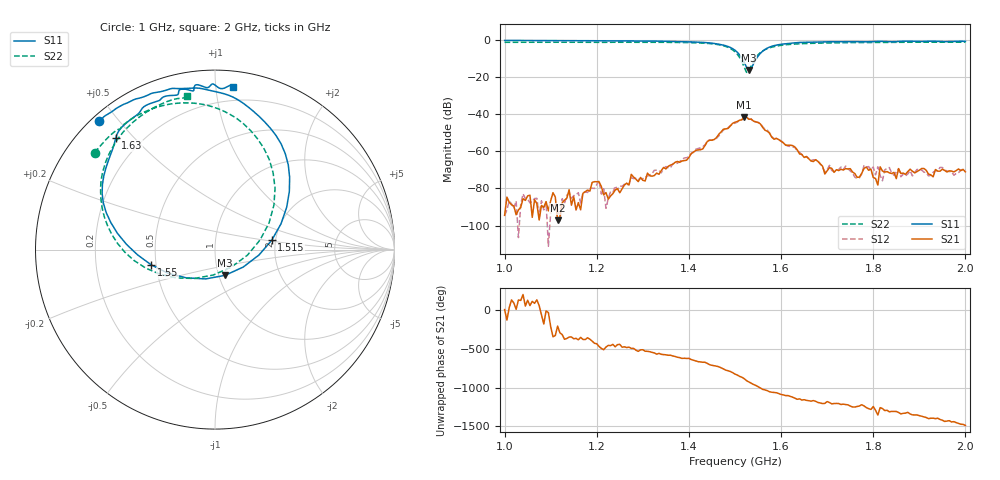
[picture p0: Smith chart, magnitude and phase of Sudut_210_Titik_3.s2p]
# Hz S RI R 50
! CMT, C1220, 16058040, 17.2.0/1
! Date: 14/08/2018 12:39:38
! Data: Format (Calibration Info)
! Freq  S11: Re/Im (F2)  S21: Re/Im (F2)  S12: Re/Im (F2)  S22: Re/Im (F2)
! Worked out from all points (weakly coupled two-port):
!   201 points, 1 GHz to 2 GHz, reference 50 ohm
!   highest |S21| = -41.46 dB at 1.52 GHz (marker M1); lowest = -97.2 dB at 1.115 GHz (marker M2)
!   lowest |S11| = -16.2 dB at 1.53 GHz (marker M3), VSWR 1.36, Z = 53.6 - j15.7 ohm
!   |S11| at or under -10 dB: 1.515 GHz to 1.547 GHz (31.44 MHz wide, 2.05 % of centre)
!   |S22| runs from -17.5 to -1.2 dB; largest |S21 - S12| = 0.00035
!   S11 on the Smith chart (normalised r, x): 1 GHz: 0.02, +0.44; 1.515 GHz: 1.91, +0.22; 1.55 GHz: 0.47, -0.09; 1.63 GHz: 0.11, +0.45; 2 GHz: 0.10, +1.11
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1e9  -0.6483 0.7142  1.89e-05 2.86e-07  -1.23e-05 1.41e-05  -0.6705 0.54
1.115e9  -0.5379 0.7937  -1.18e-05 7.14e-06  -9.18e-06 2.52e-05  -0.6016 0.6184
1.17e9  -0.4761 0.8235  6.85e-05 -2.82e-05  7.09e-05 -2.98e-05  -0.5586 0.6577
1.335e9  -0.2149 0.8973  -0.000225 8.69e-05  -0.000265 0.00015  -0.374 0.7749
1.45e9  0.1861 0.7936  0.00198 0.000196  0.00198 9.54e-05  0.0171 0.7848
1.5e9  0.4142 0.3241  -0.00181 -0.00581  -0.00177 -0.00546  0.3347 0.3415
1.515e9  0.3159 0.0518  -0.00597 -0.00378  -0.00598 -0.00398  0.2515 0.0543
1.52e9  0.245 -0.0301  -0.00821 -0.00201  -0.00828 -0.00211  0.1811 -0.0308
1.53e9  0.0567 -0.1433  -0.00643 0.0034  -0.00646 0.00343  -0.00956 -0.1417
1.55e9  -0.3554 -0.085  -0.000166 0.00597  -0.000398 0.00599  -0.3848 -0.1037
1.63e9  -0.5526 0.6234  0.000725 -0.00108  0.000748 -0.00102  -0.616 0.4659
1.67e9  -0.4372 0.7488  2.55e-05 -0.00053  -3.2e-08 -0.000593  -0.5631 0.5828
1.695e9  -0.4056 0.7875  -0.000134 -0.000206  -0.000158 -0.000231  -0.5307 0.6306
1.74e9  -0.3018 0.8383  -0.000256 -0.000225  -0.000326 -0.000234  -0.4712 0.6967
1.765e9  -0.2515 0.8583  -0.000192 -5.56e-05  -0.000176 -5.59e-05  -0.441 0.7232
1.785e9  -0.2068 0.8636  -0.000376 -1.74e-05  -0.000372 -2.93e-05  -0.4158 0.7423
1.81e9  -0.1917 0.8934  6.92e-06 0.000123  -0.000244 0.000296  -0.3859 0.7638
1.815e9  -0.1821 0.8952  -0.000382 -1.44e-05  -0.00019 0.00012  -0.3799 0.7674
1.82e9  -0.1694 0.8945  -0.00029 5.12e-05  -0.000151 -5.68e-05  -0.374 0.7711
1.835e9  -0.1302 0.885  -0.000164 0.000205  -0.00023 0.000284  -0.3566 0.7817
1.86e9  -0.1153 0.9079  -5.06e-05 0.000247  -8.88e-05 0.000185  -0.3267 0.7975
2e9  0.1026 0.908  0.000191 -0.000204  0.000244 -0.000185  -0.1565 0.8542
